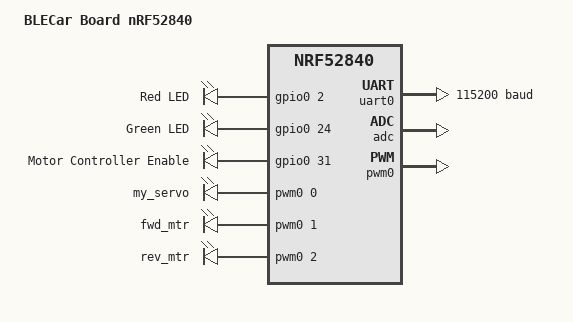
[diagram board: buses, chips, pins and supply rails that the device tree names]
// Copyright (c) 2023 Nordic Semiconductor ASA
// SPDX-License-Identifier: Apache-2.0

/dts-v1/;
#include <nordic/nrf52840_qiaa.dtsi>
#include "blecar_board_nrf52840-pinctrl.dtsi"

/ {
	model = "BLECar Board nRF52840";
	compatible = "nordic-semiconductor,blecar-board-nrf52840";

	chosen {
		zephyr,sram = &sram0;
		zephyr,flash = &flash0;
		zephyr,code-partition = &slot0_partition;
		zephyr,console = &uart0;
		zephyr,shell-uart = &uart0;
		zephyr,uart-mcumgr = &uart0;
	};

	leds {
		compatible = "gpio-leds";
		led_0: led0 {
			gpios = <&gpio0 2 0>;
			label = "Red LED";
		};

		led_1: led1 {
			gpios = <&gpio0 24 0>;
			label = "Green LED";
		};

		mtr_en: mtren {
			gpios = <&gpio0 31 0>;
			label = "Motor Controller Enable";
		};

	};
	


	motors {
		compatible = "pwm-leds";
		my_servo: servo {
			pwms = <&pwm0 0 PWM_MSEC(20) PWM_POLARITY_NORMAL>;
		};

		fwd_mtr: fwd_motor {
			pwms = <&pwm0 1 PWM_MSEC(20) PWM_POLARITY_NORMAL>;
		};

		rev_mtr: rev_motor {
			pwms = <&pwm0 2 PWM_MSEC(20) PWM_POLARITY_NORMAL>;
		};
	};
};

&flash0 {
	partitions {
		compatible = "fixed-partitions";
		#address-cells = <1>;
		#size-cells = <1>;

		boot_partition: partition@0 {
			label = "mcuboot";
			reg = <0x0 0xc000>;
		};
		slot0_partition: partition@c000 {
			label = "image-0";
			reg = <0xc000 0x72000>;
		};
		slot1_partition: partition@7e000 {
			label = "image-1";
			reg = <0x7e000 0x72000>;
		};
		scratch_partition: partition@f0000 {
			label = "image-scratch";
			reg = <0xf0000 0xa000>;
		};
		storage_partition: partition@fa000 {
			label = "storage";
			reg = <0xfa000 0x6000>;
		};
	};
};


&gpio0 {
	status = "okay";
};

&gpio1 {
	status = "okay";
};

&uart0 {
	status = "okay";
	current-speed = <115200>;
	pinctrl-0 = <&uart0_default>;
	pinctrl-1 = <&uart0_sleep>;
	pinctrl-names = "default", "sleep";
};

&adc {
	status = "okay";
};



&pwm0 {
	status = "okay";
	pinctrl-0 = <&pwm0_default>;
	pinctrl-1 = <&pwm0_sleep>;
	pinctrl-names = "default", "sleep";
};

